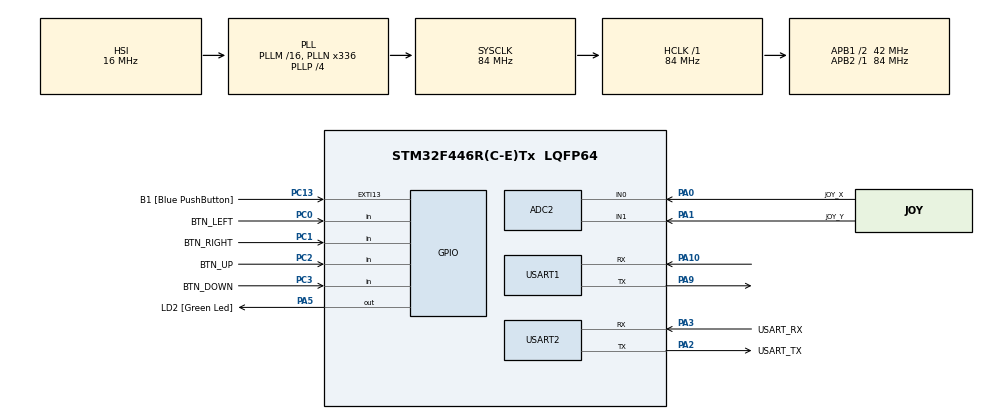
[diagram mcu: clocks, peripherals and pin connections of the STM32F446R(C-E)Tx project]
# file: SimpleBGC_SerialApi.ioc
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ADC2.Channel-12\#ChannelRegularConversion=ADC_CHANNEL_0
ADC2.Channel-14\#ChannelRegularConversion=ADC_CHANNEL_1
ADC2.ContinuousConvMode=ENABLE
ADC2.DMAContinuousRequests=ENABLE
ADC2.EOCSelection=ADC_EOC_SINGLE_CONV
ADC2.NbrOfConversion=2
ADC2.NbrOfConversionFlag=1
ADC2.Rank-12\#ChannelRegularConversion=1
ADC2.Rank-14\#ChannelRegularConversion=2
ADC2.SamplingTime-12\#ChannelRegularConversion=ADC_SAMPLETIME_480CYCLES
ADC2.SamplingTime-14\#ChannelRegularConversion=ADC_SAMPLETIME_3CYCLES
ADC2.ScanConvMode=ENABLE
Dma.ADC2.0.Direction=DMA_PERIPH_TO_MEMORY
Dma.ADC2.0.FIFOMode=DMA_FIFOMODE_DISABLE
Dma.ADC2.0.Instance=DMA2_Stream2
Dma.ADC2.0.MemDataAlignment=DMA_MDATAALIGN_HALFWORD
Dma.ADC2.0.MemInc=DMA_MINC_ENABLE
Dma.ADC2.0.Mode=DMA_CIRCULAR
Dma.ADC2.0.PeriphDataAlignment=DMA_PDATAALIGN_HALFWORD
Dma.ADC2.0.PeriphInc=DMA_PINC_DISABLE
Dma.ADC2.0.Priority=DMA_PRIORITY_HIGH
Dma.Request0=ADC2
Mcu.Family=STM32F4
Mcu.Name=STM32F446R(C-E)Tx
Mcu.Package=LQFP64
NVIC.DMA2_Stream2_IRQn=true\:0\:0\:false\:false\:true\:false
NVIC.PriorityGroup=NVIC_PRIORITYGROUP_0
NVIC.USART1_IRQn=true\:0\:0\:false\:false\:true\:true
PA0-WKUP.GPIO_Label=JOY_X
PA0-WKUP.Signal=ADCx_IN0
PA1.GPIO_Label=JOY_Y
PA1.Signal=ADCx_IN1
PA10.Mode=Asynchronous
PA10.Signal=USART1_RX
PA13.GPIO_Label=TMS
PA13.Mode=Serial_Wire
PA13.Signal=SYS_JTMS-SWDIO
PA14.GPIO_Label=TCK
PA14.Mode=Serial_Wire
PA14.Signal=SYS_JTCK-SWCLK
PA2.GPIO_Label=USART_TX
PA2.Mode=Asynchronous
PA2.Signal=USART2_TX
PA3.GPIO_Label=USART_RX
PA3.Mode=Asynchronous
PA3.Signal=USART2_RX
PA5.GPIO_Label=LD2 [Green Led]
PA5.Signal=GPIO_Output
PA9.Mode=Asynchronous
PA9.Signal=USART1_TX
PB3.GPIO_Label=SWO
PB3.Signal=SYS_JTDO-SWO
PC0.GPIO_Label=BTN_LEFT
PC0.GPIO_PuPd=GPIO_PULLDOWN
PC0.Signal=GPIO_Input
PC1.GPIO_Label=BTN_RIGHT
PC1.GPIO_PuPd=GPIO_PULLDOWN
PC1.Signal=GPIO_Input
PC13.GPIO_Label=B1 [Blue PushButton]
PC13.GPIO_ModeDefaultEXTI=GPIO_MODE_IT_FALLING
PC13.Signal=GPXTI13
PC14-OSC32_IN.Mode=LSE-External-Oscillator
PC14-OSC32_IN.Signal=RCC_OSC32_IN
PC15-OSC32_OUT.Mode=LSE-External-Oscillator
PC15-OSC32_OUT.Signal=RCC_OSC32_OUT
PC2.GPIO_Label=BTN_UP
PC2.GPIO_PuPd=GPIO_PULLDOWN
PC2.Signal=GPIO_Input
PC3.GPIO_Label=BTN_DOWN
PC3.GPIO_PuPd=GPIO_PULLDOWN
PC3.Signal=GPIO_Input
PH0-OSC_IN.Mode=HSE-External-Oscillator
PH0-OSC_IN.Signal=RCC_OSC_IN
PH1-OSC_OUT.Mode=HSE-External-Oscillator
PH1-OSC_OUT.Signal=RCC_OSC_OUT
ProjectManager.HeapSize=0x200
ProjectManager.StackSize=0x400
ProjectManager.TargetToolchain=SW4STM32
RCC.48MHZClocksFreq_Value=84000000
RCC.AHBFreq_Value=84000000
RCC.APB1CLKDivider=RCC_HCLK_DIV2
RCC.APB1Freq_Value=42000000
RCC.APB1TimFreq_Value=84000000
RCC.APB2Freq_Value=84000000
RCC.APB2TimFreq_Value=84000000
RCC.CortexFreq_Value=84000000
RCC.FLatency-AdvancedSettings=FLASH_LATENCY_2
RCC.HCLKFreq_Value=84000000
RCC.HSE_VALUE=8000000
RCC.HSI_VALUE=16000000
RCC.PLLN=336
RCC.PLLP=RCC_PLLP_DIV4
RCC.SYSCLKFreq_VALUE=84000000
RCC.SYSCLKSource=RCC_SYSCLKSOURCE_PLLCLK
RCC.USBFreq_Value=168000000
RCC.VCOOutputFreq_Value=336000000
SH.ADCx_IN0.0=ADC2_IN0,IN0
SH.ADCx_IN1.0=ADC2_IN1,IN1
USART1.VirtualMode=VM_ASYNC
USART2.VirtualMode=VM_ASYNC
board=NUCLEO-F446RE

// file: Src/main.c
/* USER CODE BEGIN Header */
/**
  ******************************************************************************
  * @file           : main.c
  * @brief          : Main program body
  ******************************************************************************
  ** This notice applies to any and all portions of this file
  * that are not between comment pairs USER CODE BEGIN and
  * USER CODE END. Other portions of this file, whether
  * inserted by the user or by software development tools
  * are owned by their respective copyright owners.
  *
  * COPYRIGHT(c) 2019 STMicroelectronics
  *
  * Redistribution and use in source and binary forms, with or without modification,
  * are permitted provided that the following conditions are met:
  *   1. Redistributions of source code must retain the above copyright notice,
  *      this list of conditions and the following disclaimer.
  *   2. Redistributions in binary form must reproduce the above copyright notice,
  *      this list of conditions and the following disclaimer in the documentation
  *      and/or other materials provided with the distribution.
  *   3. Neither the name of STMicroelectronics nor the names of its contributors
  *      may be used to endorse or promote products derived from this software
  *      without specific prior written permission.
  *
  * THIS SOFTWARE IS PROVIDED BY THE COPYRIGHT HOLDERS AND CONTRIBUTORS "AS IS"
  * AND ANY EXPRESS OR IMPLIED WARRANTIES, INCLUDING, BUT NOT LIMITED TO, THE
  * IMPLIED WARRANTIES OF MERCHANTABILITY AND FITNESS FOR A PARTICULAR PURPOSE ARE
  * DISCLAIMED. IN NO EVENT SHALL THE COPYRIGHT HOLDER OR CONTRIBUTORS BE LIABLE
  * FOR ANY DIRECT, INDIRECT, INCIDENTAL, SPECIAL, EXEMPLARY, OR CONSEQUENTIAL
  * DAMAGES (INCLUDING, BUT NOT LIMITED TO, PROCUREMENT OF SUBSTITUTE GOODS OR
  * SERVICES; LOSS OF USE, DATA, OR PROFITS; OR BUSINESS INTERRUPTION) HOWEVER
  * CAUSED AND ON ANY THEORY OF LIABILITY, WHETHER IN CONTRACT, STRICT LIABILITY,
  * OR TORT (INCLUDING NEGLIGENCE OR OTHERWISE) ARISING IN ANY WAY OUT OF THE USE
  * OF THIS SOFTWARE, EVEN IF ADVISED OF THE POSSIBILITY OF SUCH DAMAGE.
  *
  ******************************************************************************
  */
/* USER CODE END Header */

#include "main.h"

/* USER CODE BEGIN Includes */
#include "SBGC.h"
#include "circ_buf.h"
// delay between commands, ms
#define SBGC_CMD_DELAY 20
/* USER CODE END Includes */

/* USER CODE BEGIN PD */

#define GIMBAL_ROT_SPEED 40

#define CIRC_BUFF_LEN 1024

 #define max(a,b) \
   ({ __typeof__ (a) _a = (a); \
       __typeof__ (b) _b = (b); \
     _a > _b ? _a : _b; })

 #define min(a,b) \
   ({ __typeof__ (a) _a = (a); \
       __typeof__ (b) _b = (b); \
     _a < _b ? _a : _b; })
/* USER CODE END PD */

ADC_HandleTypeDef hadc2;
DMA_HandleTypeDef hdma_adc2;

UART_HandleTypeDef huart1;
UART_HandleTypeDef huart2;

void SystemClock_Config(void);
static void MX_GPIO_Init(void);
static void MX_DMA_Init(void);
static void MX_USART2_UART_Init(void);
static void MX_USART1_UART_Init(void);
static void MX_ADC2_Init(void);
/* USER CODE BEGIN PFP */
SBGC_ComObj_t com;						// Zawiera adresy funkcji do kuminikacji ze sterownikiem
SBGC_Parser_t parser;					// Przetwarza komendy wychodz¹ca i przychodz¹ce

SBGC_CMD_ControlExt_t ctrlExt;			// Kontrola gimbala

SBGC_SerialCommand_t rx_sc; 			// odebrana komenda
SBGC_RealtimeData_4_t rt_d4; 			// struktura zawierajaca odebrana ramke realtime_data_4

// Buffor ko³owy na odebrane dane
uint8_t _circ_buf_mem[CIRC_BUFF_LEN];
circ_buf_t rx_circ_buf;

// zmienna przechowuj¹ca ostatnio odebrany bajt
uint8_t rx_byte;

// nr osi w tablicy przechowuj¹ce wartoœci z przetwornicka adc (joystick)
#define JOY_X 0
#define JOY_Y 1

/* USER CODE END PFP */

/* USER CODE BEGIN 0 */

// Definicja funkcji do kumunikacji ze sterownikiem
uint16_t getBytesAvailable(void){
	return  circ_buf_bytes_in_buf(&rx_circ_buf);
}

uint8_t readByte(void){
	uint8_t byte;
	circ_buf_read(&rx_circ_buf, &byte);
	return byte;
}

void writeByte(uint8_t b){
	//HAL_UART_Transmit(&huart2, &b, 1, 100);
	HAL_UART_Transmit(&huart1, &b, 1, 100);
}

uint16_t getOutEmptySpace(void){
	return 0xFFFF;
}

// Funkcja odbieraj¹ca dane z uartu
void HAL_UART_RxCpltCallback(UART_HandleTypeDef *huart)
{
	if(huart == &huart1){

		HAL_UART_Receive_IT(&huart1, &rx_byte, 1);	// Uruchamia oczekiwanie na kolejny bajt
		circ_buf_write(&rx_circ_buf, rx_byte);  	// wpisuje bajt do buforu ko³owego
	}
}

// zmiana skali wartosci wejsciowej na inna podana
// in_min, in_max - zakres x
// out_min, out_max -  zakresy wyjsciowe
float fmap(float x, float in_min, float in_max, float out_min, float out_max)
{
 float out = (x - in_min) * (out_max - out_min) / (in_max - in_min) + out_min;

 out = max(out_min, min(out_max, out)); // range: -1.0f - 1.0f

 return out;
}

// mapuje wartosc z adc  (przetwornik 12bit, zakres 0-4095) na zakres -1.0f do 1.0f z podana martwa strefa
float map_axis_from_adc(uint16_t raw_input, float dead_zone)
{
	float axis = fmap((float)raw_input, 0.0f, 4095.0f, -1.0f, 1.0f);

	// Martwa strefa w srodku
	if(axis < -dead_zone){
		axis = fmap(axis, -1.0f, -dead_zone, -1.0f, 0.0f);
	}else if(axis > dead_zone){
		axis = fmap(axis, dead_zone, 1.0f, 0.0f, 1.0f);
	}else{
		axis = 0;
	}

	return axis;
}

// funkcja przetwarza odebrane dane
// jezeli odebrana zosta³a ramka realtime_data_4 to
// wysyla katy z imu po innym uarcie do komputera
void rx_return_cmd(){

	// dopoki sa w buforze jakies odebrane komendy to je odczytuje
	while (SBGC_Parser_receiveCommand(&parser, &rx_sc)
			== PARSER_STATE_COMPLETE) {
		if (rx_sc.id == SBGC_CMD_CONFIRM) {
			// potwierdzenie ostatniej komendy

			/*uint8_t uart_tx[256];
			uint32_t len = sprintf(uart_tx, "CMD_CONFIRM\r\n");
			HAL_UART_Transmit(&huart2, uart_tx, len, 1000);*/
		}
		if (rx_sc.id == SBGC_CMD_REALTIME_DATA_4) {
			SBGC_cmd_realtime_data_4_unpack(&rt_d4, &rx_sc);

			uint8_t uart_tx[256];
			uint32_t len = sprintf(uart_tx,
					"realtime_data_4 - imu angles: %f, %f, %f \r\n",
					SBGC_ANGLE_TO_DEGREE(rt_d4.cmd_realtime_data_3.imu_angle[ROLL]), // SBGC_ANGLE_TO_DEGREE   jest w pliku SBGC_CommandHelpers.h
					SBGC_ANGLE_TO_DEGREE(rt_d4.cmd_realtime_data_3.imu_angle[PITCH]),
					SBGC_ANGLE_TO_DEGREE(rt_d4.cmd_realtime_data_3.imu_angle[YAW]));
			HAL_UART_Transmit(&huart2, uart_tx, len, 1000);

		}
	}

}

/* USER CODE END 0 */

int main(void)
{
  /* USER CODE BEGIN 1 */
	uint16_t joy_acd[2]; // [X, Y]

	// Inicjalizacja bufora ko³owego
	circ_buf_init(&rx_circ_buf, _circ_buf_mem, CIRC_BUFF_LEN);

	// przypisanie funkcji do komunikacji
	com.getBytesAvailable = getBytesAvailable;
	com.getOutEmptySpace = getOutEmptySpace;
	com.readByte = readByte;
	com.writeByte = writeByte;

	// inicjalizacja parsera
	SBGC_Parser_init(&parser, &com);

	// inicjalizacja struktury kontrolujacej gimbal
	for(int i=0;i<3;i++){
		ctrlExt.mode[i] = SBGC_CONTROL_MODE_SPEED;
		ctrlExt.data[i].angle = 0;
		ctrlExt.data[i].speed = 0;
	}

  /* USER CODE END 1 */

  /* MCU Configuration--------------------------------------------------------*/

  /* Reset of all peripherals, Initializes the Flash interface and the Systick. */
  HAL_Init();

  /* Configure the system clock */
  SystemClock_Config();

  /* Initialize all configured peripherals */
  MX_GPIO_Init();
  MX_DMA_Init();
  MX_USART2_UART_Init();
  MX_USART1_UART_Init();
  MX_ADC2_Init();
  /* USER CODE BEGIN 2 */

  // uruchomienie odbierania danych i przetwornika ADC
  HAL_UART_Receive_IT(&huart1, &rx_byte, 1);
  HAL_ADC_Start_DMA(&hadc2, joy_acd, 2);

  /* USER CODE END 2 */

  /* Infinite loop */
  /* USER CODE BEGIN WHILE */
	while (1) {

		float joy_x = -map_axis_from_adc(joy_acd[JOY_X], 0.1f);
		joy_x *= GIMBAL_ROT_SPEED;
		ctrlExt.data[YAW].speed = joy_x * (SBGC_SPEED_SCALE);

		float joy_y = -map_axis_from_adc(joy_acd[JOY_Y], 0.1f);
		joy_y *= GIMBAL_ROT_SPEED;
		ctrlExt.data[PITCH].speed = joy_y * (SBGC_SPEED_SCALE);

		// wyslanie komendy sterujacej gimbalem
		SBGC_cmd_control_ext_send(&ctrlExt, &parser);
		HAL_Delay(30);		// odczekanie az dane zostana odebrane
		rx_return_cmd();	// odebranie danych

		// wyslanie zapytania o realtime_data_4
		SBGC_cmd_control_rtData4_send(&parser);
		HAL_Delay(30); 		// odczekanie az dane zostana odebrane
		rx_return_cmd(); 	// odebranie danych

		// komendy mozna wysylac kilka naraz a pozniej odebrac dane na koncu np:
		/*
		 *
		 SBGC_cmd_control_ext_send(&ctrlExt, &parser);
		 SBGC_cmd_control_rtData4_send(&parser);
		 .
		 .
		 .
		 rx_return_cmd();

		 */

    /* USER CODE END WHILE */

	}
}

void SystemClock_Config(void)
{
  RCC_OscInitTypeDef RCC_OscInitStruct = {0};
  RCC_ClkInitTypeDef RCC_ClkInitStruct = {0};

  /**Configure the main internal regulator output voltage
  */
  __HAL_RCC_PWR_CLK_ENABLE();
  __HAL_PWR_VOLTAGESCALING_CONFIG(PWR_REGULATOR_VOLTAGE_SCALE3);
  /**Initializes the CPU, AHB and APB busses clocks
  */
  RCC_OscInitStruct.OscillatorType = RCC_OSCILLATORTYPE_HSI;
  RCC_OscInitStruct.HSIState = RCC_HSI_ON;
  RCC_OscInitStruct.HSICalibrationValue = RCC_HSICALIBRATION_DEFAULT;
  RCC_OscInitStruct.PLL.PLLState = RCC_PLL_ON;
  RCC_OscInitStruct.PLL.PLLSource = RCC_PLLSOURCE_HSI;
  RCC_OscInitStruct.PLL.PLLM = 16;
  RCC_OscInitStruct.PLL.PLLN = 336;
  RCC_OscInitStruct.PLL.PLLP = RCC_PLLP_DIV4;
  RCC_OscInitStruct.PLL.PLLQ = 2;
  RCC_OscInitStruct.PLL.PLLR = 2;
  if (HAL_RCC_OscConfig(&RCC_OscInitStruct) != HAL_OK)
  {
    Error_Handler();
  }
  /**Initializes the CPU, AHB and APB busses clocks
  */
  RCC_ClkInitStruct.ClockType = RCC_CLOCKTYPE_HCLK|RCC_CLOCKTYPE_SYSCLK
                              |RCC_CLOCKTYPE_PCLK1|RCC_CLOCKTYPE_PCLK2;
  RCC_ClkInitStruct.SYSCLKSource = RCC_SYSCLKSOURCE_PLLCLK;
  RCC_ClkInitStruct.AHBCLKDivider = RCC_SYSCLK_DIV1;
  RCC_ClkInitStruct.APB1CLKDivider = RCC_HCLK_DIV2;
  RCC_ClkInitStruct.APB2CLKDivider = RCC_HCLK_DIV1;

  if (HAL_RCC_ClockConfig(&RCC_ClkInitStruct, FLASH_LATENCY_2) != HAL_OK)
  {
    Error_Handler();
  }
}

static void MX_ADC2_Init(void)
{

  ADC_ChannelConfTypeDef sConfig = {0};

  /**Configure the global features of the ADC (Clock, Resolution, Data Alignment and number of conversion)
  */
  hadc2.Instance = ADC2;
  hadc2.Init.ClockPrescaler = ADC_CLOCK_SYNC_PCLK_DIV4;
  hadc2.Init.Resolution = ADC_RESOLUTION_12B;
  hadc2.Init.ScanConvMode = ENABLE;
  hadc2.Init.ContinuousConvMode = ENABLE;
  hadc2.Init.DiscontinuousConvMode = DISABLE;
  hadc2.Init.ExternalTrigConvEdge = ADC_EXTERNALTRIGCONVEDGE_NONE;
  hadc2.Init.ExternalTrigConv = ADC_SOFTWARE_START;
  hadc2.Init.DataAlign = ADC_DATAALIGN_RIGHT;
  hadc2.Init.NbrOfConversion = 2;
  hadc2.Init.DMAContinuousRequests = ENABLE;
  hadc2.Init.EOCSelection = ADC_EOC_SINGLE_CONV;
  if (HAL_ADC_Init(&hadc2) != HAL_OK)
  {
    Error_Handler();
  }
  /**Configure for the selected ADC regular channel its corresponding rank in the sequencer and its sample time.
  */
  sConfig.Channel = ADC_CHANNEL_0;
  sConfig.Rank = 1;
  sConfig.SamplingTime = ADC_SAMPLETIME_480CYCLES;
  if (HAL_ADC_ConfigChannel(&hadc2, &sConfig) != HAL_OK)
  {
    Error_Handler();
  }
  /**Configure for the selected ADC regular channel its corresponding rank in the sequencer and its sample time.
  */
  sConfig.Channel = ADC_CHANNEL_1;
  sConfig.Rank = 2;
  sConfig.SamplingTime = ADC_SAMPLETIME_3CYCLES;
  if (HAL_ADC_ConfigChannel(&hadc2, &sConfig) != HAL_OK)
  {
    Error_Handler();
  }

}

static void MX_USART1_UART_Init(void)
{

  huart1.Instance = USART1;
  huart1.Init.BaudRate = 115200;
  huart1.Init.WordLength = UART_WORDLENGTH_8B;
  huart1.Init.StopBits = UART_STOPBITS_1;
  huart1.Init.Parity = UART_PARITY_NONE;
  huart1.Init.Mode = UART_MODE_TX_RX;
  huart1.Init.HwFlowCtl = UART_HWCONTROL_NONE;
  huart1.Init.OverSampling = UART_OVERSAMPLING_16;
  if (HAL_UART_Init(&huart1) != HAL_OK)
  {
    Error_Handler();
  }

}

static void MX_USART2_UART_Init(void)
{

  huart2.Instance = USART2;
  huart2.Init.BaudRate = 115200;
  huart2.Init.WordLength = UART_WORDLENGTH_8B;
  huart2.Init.StopBits = UART_STOPBITS_1;
  huart2.Init.Parity = UART_PARITY_NONE;
  huart2.Init.Mode = UART_MODE_TX_RX;
  huart2.Init.HwFlowCtl = UART_HWCONTROL_NONE;
  huart2.Init.OverSampling = UART_OVERSAMPLING_16;
  if (HAL_UART_Init(&huart2) != HAL_OK)
  {
    Error_Handler();
  }

}

static void MX_DMA_Init(void)
{
  /* DMA controller clock enable */
  __HAL_RCC_DMA2_CLK_ENABLE();

  /* DMA interrupt init */
  /* DMA2_Stream2_IRQn interrupt configuration */
  HAL_NVIC_SetPriority(DMA2_Stream2_IRQn, 0, 0);
  HAL_NVIC_EnableIRQ(DMA2_Stream2_IRQn);

}

static void MX_GPIO_Init(void)
{
  GPIO_InitTypeDef GPIO_InitStruct = {0};

  /* GPIO Ports Clock Enable */
  __HAL_RCC_GPIOC_CLK_ENABLE();
  __HAL_RCC_GPIOH_CLK_ENABLE();
  __HAL_RCC_GPIOA_CLK_ENABLE();
  __HAL_RCC_GPIOB_CLK_ENABLE();

  /*Configure GPIO pin Output Level */
  HAL_GPIO_WritePin(LD2_GPIO_Port, LD2_Pin, GPIO_PIN_RESET);

  /*Configure GPIO pin : B1_Pin */
  GPIO_InitStruct.Pin = B1_Pin;
  GPIO_InitStruct.Mode = GPIO_MODE_IT_FALLING;
  GPIO_InitStruct.Pull = GPIO_NOPULL;
  HAL_GPIO_Init(B1_GPIO_Port, &GPIO_InitStruct);

  /*Configure GPIO pins : BTN_LEFT_Pin BTN_RIGHT_Pin BTN_UP_Pin BTN_DOWN_Pin */
  GPIO_InitStruct.Pin = BTN_LEFT_Pin|BTN_RIGHT_Pin|BTN_UP_Pin|BTN_DOWN_Pin;
  GPIO_InitStruct.Mode = GPIO_MODE_INPUT;
  GPIO_InitStruct.Pull = GPIO_PULLDOWN;
  HAL_GPIO_Init(GPIOC, &GPIO_InitStruct);

  /*Configure GPIO pin : LD2_Pin */
  GPIO_InitStruct.Pin = LD2_Pin;
  GPIO_InitStruct.Mode = GPIO_MODE_OUTPUT_PP;
  GPIO_InitStruct.Pull = GPIO_NOPULL;
  GPIO_InitStruct.Speed = GPIO_SPEED_FREQ_LOW;
  HAL_GPIO_Init(LD2_GPIO_Port, &GPIO_InitStruct);

}

void Error_Handler(void)
{
}

/************************ (C) COPYRIGHT STMicroelectronics *****END OF FILE****/
